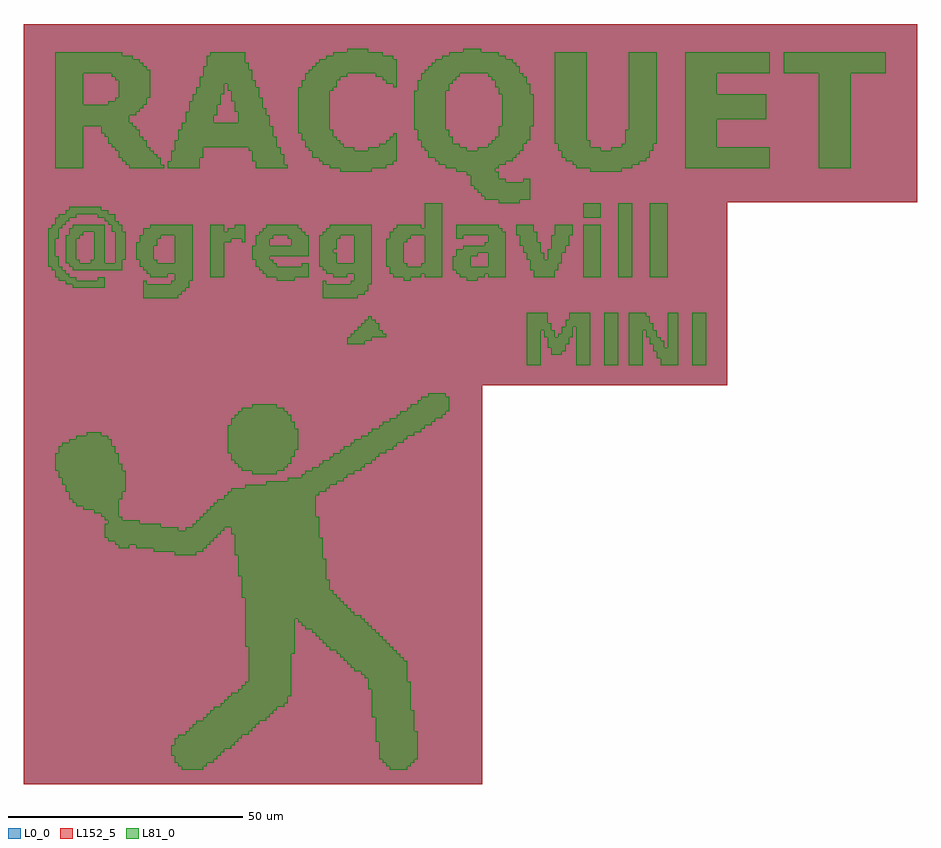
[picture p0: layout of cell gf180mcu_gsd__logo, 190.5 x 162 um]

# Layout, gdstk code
import gdstk
lib = gdstk.Library(unit=1e-6, precision=1e-09)
def R(c, l, rs):  # rectangles x0, y0, x1, y1
    for r in rs: c.add(gdstk.rectangle(r[:2], r[2:], *l))
def P(c, l, *ps):  # polygons
    for p in ps: c.add(gdstk.Polygon(p, *l))
L0_0 = (0, 0)
L81_0 = (81, 0)
L152_5 = (152, 5)

gf180mcu_gsd__logo = lib.new_cell('gf180mcu_gsd__logo')
R(gf180mcu_gsd__logo, L0_0, [(0,0,97.8,85), (0,85,150,124), (0,124,190.5,162)])
R(gf180mcu_gsd__logo, L81_0, [(123.75,89.25,126.75,100.5), (142.5,89.25,145.5,100.5), (119.25,108,123,119.25), (126.75,108,129.75,123.75), (133.5,108,137.25,123.75), (119.25,120.75,123,123.75)])
P(gf180mcu_gsd__logo, L81_0, [(48.75,66),(48.75,66.75),(46.5,66.75),(46.5,67.5),(45.75,67.5),(45.75,68.25),(45,68.25),(45,69),(44.25,69),(44.25,70.5),(43.5,70.5),(43.5,76.5),(44.25,76.5),(44.25,78),(45,78),(45,78.75),(45.75,78.75),(45.75,79.5),(46.5,79.5),(46.5,80.25),(48.75,80.25),(48.75,81),(54,81),(54,80.25),(55.5,80.25),(55.5,79.5),(56.25,79.5),(56.25,78.75),(57,78.75),(57,77.25),(57.75,77.25),(57.75,75.75),(58.5,75.75),(58.5,71.25),(57.75,71.25),(57.75,69.75),(57,69.75),(57,68.25),(56.25,68.25),(56.25,67.5),(55.5,67.5),(55.5,66.75),(54,66.75),(54,66)],
  [(33.75,3),(33.75,3.75),(33,3.75),(33,4.5),(32.25,4.5),(32.25,6),(31.5,6),(31.5,8.25),(32.25,8.25),(32.25,9.75),(33,9.75),(33,10.5),(34.5,10.5),(34.5,11.25),(35.25,11.25),(35.25,12),(36,12),(36,12.75),(36.75,12.75),(36.75,13.5),(38.25,13.5),(38.25,14.25),(39,14.25),(39,15),(39.75,15),(39.75,15.75),(40.5,15.75),(40.5,16.5),(42,16.5),(42,17.25),(42.75,17.25),(42.75,18),(43.5,18),(43.5,18.75),(44.25,18.75),(44.25,19.5),(45.75,19.5),(45.75,20.25),(46.5,20.25),(46.5,21),(47.25,21),(47.25,21.75),(48,21.75),(48,29.25),(47.25,29.25),(47.25,39.75),(46.5,39.75),(46.5,44.25),(45.75,44.25),(45.75,48.75),(45,48.75),(45,53.25),(44.25,53.25),(44.25,54.75),(42.75,54.75),(42.75,54),(42,54),(42,53.25),(41.25,53.25),(41.25,52.5),(40.5,52.5),(40.5,51.75),(39.75,51.75),(39.75,51),(39,51),(39,50.25),(38.25,50.25),(38.25,49.5),(36.75,49.5),(36.75,48.75),(32.25,48.75),(32.25,49.5),(27.75,49.5),(27.75,50.25),(24,50.25),(24,51),(22.5,51),(22.5,50.25),(20.25,50.25),(20.25,51),(19.5,51),(19.5,51.75),(18,51.75),(18,52.5),(17.25,52.5),(17.25,55.5),(18,55.5),(18,56.25),(17.25,56.25),(17.25,57),(16.5,57),(16.5,57.75),(15,57.75),(15,58.5),(12.75,58.5),(12.75,59.25),(11.25,59.25),(11.25,60),(10.5,60),(10.5,60.75),(9.75,60.75),(9.75,62.25),(9,62.25),(9,63.75),(8.25,63.75),(8.25,65.25),(7.5,65.25),(7.5,66.75),(6.75,66.75),(6.75,70.5),(7.5,70.5),(7.5,72),(8.25,72),(8.25,72.75),(9.75,72.75),(9.75,73.5),(11.25,73.5),(11.25,74.25),(13.5,74.25),(13.5,75),(16.5,75),(16.5,74.25),(18,74.25),(18,73.5),(18.75,73.5),(18.75,72),(19.5,72),(19.5,70.5),(20.25,70.5),(20.25,68.25),(21,68.25),(21,66.75),(21.75,66.75),(21.75,62.25),(21,62.25),(21,60.75),(20.25,60.75),(20.25,57),(21,57),(21,56.25),(24.75,56.25),(24.75,55.5),(29.25,55.5),(29.25,54.75),(33,54.75),(33,54),(34.5,54),(34.5,54.75),(36,54.75),(36,55.5),(36.75,55.5),(36.75,56.25),(37.5,56.25),(37.5,57),(38.25,57),(38.25,57.75),(39,57.75),(39,58.5),(39.75,58.5),(39.75,59.25),(40.5,59.25),(40.5,60),(41.25,60),(41.25,60.75),(42.75,60.75),(42.75,61.5),(43.5,61.5),(43.5,62.25),(44.25,62.25),(44.25,63),(47.25,63),(47.25,63.75),(51.75,63.75),(51.75,64.5),(56.25,64.5),(56.25,65.25),(59.25,65.25),(59.25,66),(60,66),(60,66.75),(61.5,66.75),(61.5,67.5),(63,67.5),(63,68.25),(63.75,68.25),(63.75,69),(65.25,69),(65.25,69.75),(66,69.75),(66,70.5),(67.5,70.5),(67.5,71.25),(68.25,71.25),(68.25,72),(69.75,72),(69.75,72.75),(70.5,72.75),(70.5,73.5),(72,73.5),(72,74.25),(73.5,74.25),(73.5,75),(74.25,75),(74.25,75.75),(75.75,75.75),(75.75,76.5),(76.5,76.5),(76.5,77.25),(78,77.25),(78,78),(79.5,78),(79.5,78.75),(80.25,78.75),(80.25,79.5),(81.75,79.5),(81.75,80.25),(82.5,80.25),(82.5,81),(84,81),(84,81.75),(84.75,81.75),(84.75,82.5),(86.25,82.5),(86.25,83.25),(90,83.25),(90,82.5),(90.75,82.5),(90.75,79.5),(90,79.5),(90,78.75),(89.25,78.75),(89.25,78),(87.75,78),(87.75,77.25),(87,77.25),(87,76.5),(85.5,76.5),(85.5,75.75),(84.75,75.75),(84.75,75),(83.25,75),(83.25,74.25),(81.75,74.25),(81.75,73.5),(81,73.5),(81,72.75),(79.5,72.75),(79.5,72),(78.75,72),(78.75,71.25),(77.25,71.25),(77.25,70.5),(75.75,70.5),(75.75,69.75),(75,69.75),(75,69),(74.25,69),(74.25,68.25),(72.75,68.25),(72.75,67.5),(72,67.5),(72,66.75),(70.5,66.75),(70.5,66),(69,66),(69,65.25),(68.25,65.25),(68.25,64.5),(66.75,64.5),(66.75,63.75),(65.25,63.75),(65.25,63),(64.5,63),(64.5,62.25),(63,62.25),(63,61.5),(62.25,61.5),(62.25,57),(63,57),(63,52.5),(63.75,52.5),(63.75,48),(64.5,48),(64.5,43.5),(65.25,43.5),(65.25,41.25),(66,41.25),(66,40.5),(66.75,40.5),(66.75,39.75),(67.5,39.75),(67.5,39),(68.25,39),(68.25,38.25),(69,38.25),(69,37.5),(69.75,37.5),(69.75,36.75),(70.5,36.75),(70.5,36),(72,36),(72,35.25),(72.75,35.25),(72.75,34.5),(73.5,34.5),(73.5,33.75),(74.25,33.75),(74.25,33),(75,33),(75,32.25),(75.75,32.25),(75.75,31.5),(76.5,31.5),(76.5,30.75),(77.25,30.75),(77.25,30),(78,30),(78,29.25),(78.75,29.25),(78.75,28.5),(79.5,28.5),(79.5,27.75),(80.25,27.75),(80.25,27),(81,27),(81,26.25),(81.75,26.25),(81.75,21.75),(82.5,21.75),(82.5,15.75),(83.25,15.75),(83.25,11.25),(84,11.25),(84,5.25),(83.25,5.25),(83.25,4.5),(82.5,4.5),(82.5,3.75),(81.75,3.75),(81.75,3),(78,3),(78,3.75),(77.25,3.75),(77.25,4.5),(76.5,4.5),(76.5,5.25),(75.75,5.25),(75.75,9),(75,9),(75,14.25),(74.25,14.25),(74.25,20.25),(73.5,20.25),(73.5,22.5),(72.75,22.5),(72.75,23.25),(72,23.25),(72,24),(70.5,24),(70.5,24.75),(69.75,24.75),(69.75,25.5),(69,25.5),(69,26.25),(68.25,26.25),(68.25,27),(67.5,27),(67.5,27.75),(66.75,27.75),(66.75,28.5),(65.25,28.5),(65.25,29.25),(64.5,29.25),(64.5,30),(63.75,30),(63.75,30.75),(63,30.75),(63,31.5),(62.25,31.5),(62.25,32.25),(61.5,32.25),(61.5,33),(60,33),(60,33.75),(59.25,33.75),(59.25,34.5),(58.5,34.5),(58.5,35.25),(57.75,35.25),(57.75,27.75),(57,27.75),(57,18.75),(56.25,18.75),(56.25,17.25),(55.5,17.25),(55.5,16.5),(54,16.5),(54,15.75),(53.25,15.75),(53.25,15),(52.5,15),(52.5,14.25),(51.75,14.25),(51.75,13.5),(50.25,13.5),(50.25,12.75),(49.5,12.75),(49.5,12),(48.75,12),(48.75,11.25),(48,11.25),(48,10.5),(46.5,10.5),(46.5,9.75),(45.75,9.75),(45.75,9),(45,9),(45,8.25),(44.25,8.25),(44.25,7.5),(42.75,7.5),(42.75,6.75),(42,6.75),(42,6),(41.25,6),(41.25,5.25),(40.5,5.25),(40.5,4.5),(39,4.5),(39,3.75),(38.25,3.75),(38.25,3)],
  [(69,93.75),(69,95.25),(69.75,95.25),(69.75,96),(70.5,96),(70.5,96.75),(71.25,96.75),(71.25,97.5),(72,97.5),(72,98.25),(72.75,98.25),(72.75,99),(73.5,99),(73.5,99.75),(74.25,99.75),(74.25,99),(75,99),(75,98.25),(75.75,98.25),(75.75,96.75),(76.5,96.75),(76.5,96),(77.25,96),(77.25,95.25),(74.25,95.25),(74.25,94.5),(72.75,94.5),(72.75,93.75)],
  [(107.25,89.25),(107.25,100.5),(111.75,100.5),(111.75,98.25),(112.5,98.25),(112.5,96.75),(113.25,96.75),(113.25,95.25),(114,95.25),(114,96),(114.75,96),(114.75,97.5),(115.5,97.5),(115.5,99),(116.25,99),(116.25,100.5),(120.75,100.5),(120.75,89.25),(117.75,89.25),(117.75,97.5),(117,97.5),(117,95.25),(116.25,95.25),(116.25,93.75),(115.5,93.75),(115.5,92.25),(114.75,92.25),(114.75,91.5),(112.5,91.5),(112.5,93),(111.75,93),(111.75,95.25),(111,95.25),(111,96.75),(110.25,96.75),(110.25,89.25)],
  [(129,89.25),(129,100.5),(132.75,100.5),(132.75,99.75),(133.5,99.75),(133.5,98.25),(134.25,98.25),(134.25,96.75),(135,96.75),(135,95.25),(135.75,95.25),(135.75,94.5),(136.5,94.5),(136.5,93),(137.25,93),(137.25,100.5),(139.5,100.5),(139.5,89.25),(135.75,89.25),(135.75,90.75),(135,90.75),(135,92.25),(134.25,92.25),(134.25,93.75),(133.5,93.75),(133.5,95.25),(132.75,95.25),(132.75,96.75),(132,96.75),(132,89.25)],
  [(25.5,103.5),(25.5,107.25),(26.25,107.25),(26.25,106.5),(31.5,106.5),(31.5,107.25),(32.25,107.25),(32.25,108.75),(30.75,108.75),(30.75,108),(27,108),(27,108.75),(26.25,108.75),(26.25,109.5),(25.5,109.5),(25.5,110.25),(24.75,110.25),(24.75,111.75),(24,111.75),(24,115.5),(24.75,115.5),(24.75,117),(29.25,117),(29.25,116.25),(28.5,116.25),(28.5,114.75),(27.75,114.75),(27.75,111.75),(28.5,111.75),(28.5,111),(32.25,111),(32.25,117),(25.5,117),(25.5,118.5),(27,118.5),(27,119.25),(36,119.25),(36,107.25),(35.25,107.25),(35.25,105.75),(34.5,105.75),(34.5,105),(33.75,105),(33.75,104.25),(33,104.25),(33,103.5)],
  [(39.75,108),(39.75,119.25),(42.75,119.25),(42.75,117.75),(43.5,117.75),(43.5,118.5),(45,118.5),(45,119.25),(47.25,119.25),(47.25,115.5),(46.5,115.5),(46.5,116.25),(44.25,116.25),(44.25,115.5),(42.75,115.5),(42.75,108)],
  [(54,107.25),(54,108),(51.75,108),(51.75,108.75),(51,108.75),(51,109.5),(50.25,109.5),(50.25,110.25),(49.5,110.25),(49.5,111.75),(48.75,111.75),(48.75,114.75),(49.5,114.75),(49.5,117),(53.25,117),(53.25,116.25),(52.5,116.25),(52.5,114.75),(57,114.75),(57,116.25),(56.25,116.25),(56.25,117),(50.25,117),(50.25,117.75),(51,117.75),(51,118.5),(51.75,118.5),(51.75,119.25),(58.5,119.25),(58.5,118.5),(59.25,118.5),(59.25,117.75),(60,117.75),(60,117),(60.75,117),(60.75,112.5),(52.5,112.5),(52.5,111.75),(53.25,111.75),(53.25,111),(54,111),(54,110.25),(59.25,110.25),(59.25,111),(60.75,111),(60.75,108),(57.75,108),(57.75,107.25)],
  [(63.75,103.5),(63.75,107.25),(64.5,107.25),(64.5,106.5),(69.75,106.5),(69.75,107.25),(70.5,107.25),(70.5,108.75),(69,108.75),(69,108),(66,108),(66,108.75),(64.5,108.75),(64.5,109.5),(63.75,109.5),(63.75,110.25),(63,110.25),(63,117),(67.5,117),(67.5,116.25),(66.75,116.25),(66.75,114),(66,114),(66,113.25),(66.75,113.25),(66.75,111),(70.5,111),(70.5,117),(63.75,117),(63.75,117.75),(64.5,117.75),(64.5,118.5),(65.25,118.5),(65.25,119.25),(74.25,119.25),(74.25,106.5),(73.5,106.5),(73.5,105),(72.75,105),(72.75,104.25),(71.25,104.25),(71.25,103.5)],
  [(94.5,107.25),(94.5,108),(93,108),(93,108.75),(92.25,108.75),(92.25,109.5),(91.5,109.5),(91.5,112.5),(92.25,112.5),(92.25,113.25),(96.75,113.25),(96.75,112.5),(95.25,112.5),(95.25,110.25),(99,110.25),(99,113.25),(92.25,113.25),(92.25,114),(93.75,114),(93.75,114.75),(98.25,114.75),(98.25,115.5),(99,115.5),(99,117),(93.75,117),(93.75,116.25),(92.25,116.25),(92.25,119.25),(101.25,119.25),(101.25,118.5),(102,118.5),(102,117.75),(102.75,117.75),(102.75,108),(99,108),(99,108.75),(98.25,108.75),(98.25,108),(96.75,108),(96.75,107.25)],
  [(108.75,108),(108.75,109.5),(108,109.5),(108,111.75),(107.25,111.75),(107.25,113.25),(106.5,113.25),(106.5,114.75),(105.75,114.75),(105.75,117),(105,117),(105,119.25),(108.75,119.25),(108.75,117.75),(109.5,117.75),(109.5,115.5),(110.25,115.5),(110.25,113.25),(111,113.25),(111,111.75),(111.75,111.75),(111.75,114),(112.5,114),(112.5,117),(113.25,117),(113.25,119.25),(117,119.25),(117,117),(116.25,117),(116.25,114.75),(115.5,114.75),(115.5,113.25),(114.75,113.25),(114.75,111),(114,111),(114,109.5),(113.25,109.5),(113.25,108)],
  [(10.5,105.75),(10.5,106.5),(9,106.5),(9,107.25),(7.5,107.25),(7.5,108),(6.75,108),(6.75,109.5),(6,109.5),(6,110.25),(5.25,110.25),(5.25,118.5),(6,118.5),(6,119.25),(6.75,119.25),(6.75,120.75),(7.5,120.75),(7.5,121.5),(9,121.5),(9,122.25),(9.75,122.25),(9.75,123),(16.5,123),(16.5,122.25),(18,122.25),(18,121.5),(19.5,121.5),(19.5,120),(20.25,120),(20.25,119.25),(21,119.25),(21,117.75),(21.75,117.75),(21.75,111.75),(21,111.75),(21,109.5),(10.5,109.5),(10.5,110.25),(9.75,110.25),(9.75,111),(9,111),(9,117),(9.75,117),(9.75,117.75),(12.75,117.75),(12.75,117),(12,117),(12,116.25),(11.25,116.25),(11.25,111.75),(12,111.75),(12,111),(14.25,111),(14.25,111.75),(15,111.75),(15,117.75),(9.75,117.75),(9.75,118.5),(10.5,118.5),(10.5,119.25),(17.25,119.25),(17.25,111),(19.5,111),(19.5,117.75),(18.75,117.75),(18.75,119.25),(18,119.25),(18,120),(17.25,120),(17.25,120.75),(15.75,120.75),(15.75,121.5),(11.25,121.5),(11.25,120.75),(9.75,120.75),(9.75,120),(9,120),(9,119.25),(8.25,119.25),(8.25,118.5),(7.5,118.5),(7.5,116.25),(6.75,116.25),(6.75,112.5),(7.5,112.5),(7.5,110.25),(8.25,110.25),(8.25,109.5),(9,109.5),(9,108.75),(9.75,108.75),(9.75,108),(11.25,108),(11.25,107.25),(15.75,107.25),(15.75,108),(17.25,108),(17.25,105.75)],
  [(81,107.25),(81,108),(78.75,108),(78.75,108.75),(78,108.75),(78,110.25),(77.25,110.25),(77.25,116.25),(78,116.25),(78,117),(82.5,117),(82.5,116.25),(81.75,116.25),(81.75,115.5),(81,115.5),(81,111),(81.75,111),(81.75,110.25),(84.75,110.25),(84.75,111),(85.5,111),(85.5,117),(78,117),(78,117.75),(78.75,117.75),(78.75,118.5),(79.5,118.5),(79.5,119.25),(84.75,119.25),(84.75,118.5),(85.5,118.5),(85.5,123.75),(89.25,123.75),(89.25,108),(85.5,108),(85.5,108.75),(84.75,108.75),(84.75,108),(82.5,108),(82.5,107.25)],
  [(6.75,131.25),(6.75,151.5),(12.75,151.5),(12.75,144.75),(18,144.75),(18,145.5),(19.5,145.5),(19.5,146.25),(20.25,146.25),(20.25,150),(19.5,150),(19.5,150.75),(18.75,150.75),(18.75,151.5),(6.75,151.5),(6.75,156),(21,156),(21,155.25),(23.25,155.25),(23.25,154.5),(24.75,154.5),(24.75,153.75),(25.5,153.75),(25.5,153),(26.25,153),(26.25,152.25),(27,152.25),(27,146.25),(26.25,146.25),(26.25,144.75),(25.5,144.75),(25.5,144),(24.75,144),(24.75,143.25),(24,143.25),(24,142.5),(22.5,142.5),(22.5,141),(23.25,141),(23.25,140.25),(24,140.25),(24,139.5),(24.75,139.5),(24.75,138),(25.5,138),(25.5,137.25),(26.25,137.25),(26.25,135.75),(27,135.75),(27,135),(27.75,135),(27.75,134.25),(28.5,134.25),(28.5,133.5),(29.25,133.5),(29.25,132),(30,132),(30,131.25),(22.5,131.25),(22.5,132),(21.75,132),(21.75,132.75),(21,132.75),(21,133.5),(20.25,133.5),(20.25,135),(19.5,135),(19.5,135.75),(18.75,135.75),(18.75,136.5),(18,136.5),(18,138),(17.25,138),(17.25,138.75),(16.5,138.75),(16.5,140.25),(12.75,140.25),(12.75,131.25)],
  [(30.75,131.25),(30.75,132.75),(31.5,132.75),(31.5,135),(32.25,135),(32.25,137.25),(33,137.25),(33,139.5),(33.75,139.5),(33.75,141),(34.5,141),(34.5,143.25),(35.25,143.25),(35.25,145.5),(36,145.5),(36,147),(36.75,147),(36.75,148.5),(37.5,148.5),(37.5,149.25),(42.75,149.25),(42.75,147),(42,147),(42,144.75),(41.25,144.75),(41.25,142.5),(40.5,142.5),(40.5,141),(45.75,141),(45.75,143.25),(45,143.25),(45,145.5),(44.25,145.5),(44.25,147.75),(43.5,147.75),(43.5,149.25),(37.5,149.25),(37.5,150.75),(38.25,150.75),(38.25,153),(39,153),(39,155.25),(39.75,155.25),(39.75,156),(47.25,156),(47.25,153.75),(48,153.75),(48,152.25),(48.75,152.25),(48.75,150),(49.5,150),(49.5,148.5),(50.25,148.5),(50.25,146.25),(51,146.25),(51,144),(51.75,144),(51.75,142.5),(52.5,142.5),(52.5,140.25),(53.25,140.25),(53.25,138),(54,138),(54,135.75),(54.75,135.75),(54.75,134.25),(55.5,134.25),(55.5,132),(56.25,132),(56.25,131.25),(49.5,131.25),(49.5,132.75),(48.75,132.75),(48.75,135),(48,135),(48,135.75),(38.25,135.75),(38.25,133.5),(37.5,133.5),(37.5,131.25)],
  [(120.75,130.5),(120.75,131.25),(117.75,131.25),(117.75,132),(117,132),(117,132.75),(115.5,132.75),(115.5,133.5),(114.75,133.5),(114.75,135),(114,135),(114,136.5),(113.25,136.5),(113.25,156),(120,156),(120,137.25),(120.75,137.25),(120.75,135.75),(123,135.75),(123,135),(125.25,135),(125.25,135.75),(127.5,135.75),(127.5,136.5),(128.25,136.5),(128.25,139.5),(129,139.5),(129,156),(135,156),(135,136.5),(134.25,136.5),(134.25,135),(133.5,135),(133.5,133.5),(132.75,133.5),(132.75,132.75),(131.25,132.75),(131.25,132),(129.75,132),(129.75,131.25),(127.5,131.25),(127.5,130.5)],
  [(141,131.25),(141,156),(159,156),(159,151.5),(147.75,151.5),(147.75,147),(158.25,147),(158.25,141.75),(147.75,141.75),(147.75,135.75),(159,135.75),(159,131.25)],
  [(169.5,131.25),(169.5,151.5),(162,151.5),(162,156),(183.75,156),(183.75,151.5),(176.25,151.5),(176.25,131.25)],
  [(67.5,130.5),(67.5,131.25),(65.25,131.25),(65.25,132),(63.75,132),(63.75,132.75),(63,132.75),(63,133.5),(61.5,133.5),(61.5,135),(60.75,135),(60.75,135.75),(60,135.75),(60,137.25),(59.25,137.25),(59.25,138.75),(58.5,138.75),(58.5,148.5),(59.25,148.5),(59.25,150),(60,150),(60,151.5),(60.75,151.5),(60.75,152.25),(61.5,152.25),(61.5,153),(62.25,153),(62.25,153.75),(63,153.75),(63,154.5),(64.5,154.5),(64.5,155.25),(66,155.25),(66,156),(69,156),(69,156.75),(73.5,156.75),(73.5,156),(76.5,156),(76.5,155.25),(78.75,155.25),(78.75,154.5),(79.5,154.5),(79.5,148.5),(78.75,148.5),(78.75,149.25),(77.25,149.25),(77.25,150),(76.5,150),(76.5,150.75),(75,150.75),(75,151.5),(69,151.5),(69,150.75),(67.5,150.75),(67.5,150),(66.75,150),(66.75,148.5),(66,148.5),(66,147.75),(65.25,147.75),(65.25,139.5),(66,139.5),(66,138),(66.75,138),(66.75,137.25),(67.5,137.25),(67.5,136.5),(68.25,136.5),(68.25,135.75),(70.5,135.75),(70.5,135),(73.5,135),(73.5,135.75),(75.75,135.75),(75.75,136.5),(77.25,136.5),(77.25,137.25),(78,137.25),(78,138),(78.75,138),(78.75,138.75),(79.5,138.75),(79.5,132.75),(78.75,132.75),(78.75,132),(77.25,132),(77.25,131.25),(74.25,131.25),(74.25,130.5)],
  [(101.25,123.75),(101.25,124.5),(98.25,124.5),(98.25,125.25),(97.5,125.25),(97.5,126),(96.75,126),(96.75,126.75),(96,126.75),(96,127.5),(95.25,127.5),(95.25,129.75),(94.5,129.75),(94.5,130.5),(92.25,130.5),(92.25,131.25),(90,131.25),(90,132),(88.5,132),(88.5,132.75),(87.75,132.75),(87.75,133.5),(86.25,133.5),(86.25,135),(85.5,135),(85.5,135.75),(84.75,135.75),(84.75,137.25),(84,137.25),(84,139.5),(83.25,139.5),(83.25,147.75),(84,147.75),(84,150),(84.75,150),(84.75,151.5),(93,151.5),(93,150.75),(92.25,150.75),(92.25,150),(91.5,150),(91.5,149.25),(90.75,149.25),(90.75,147.75),(90,147.75),(90,139.5),(90.75,139.5),(90.75,138),(91.5,138),(91.5,136.5),(93,136.5),(93,135.75),(94.5,135.75),(94.5,135),(96.75,135),(96.75,135.75),(99,135.75),(99,136.5),(99.75,136.5),(99.75,137.25),(100.5,137.25),(100.5,138),(101.25,138),(101.25,140.25),(102,140.25),(102,147),(101.25,147),(101.25,148.5),(100.5,148.5),(100.5,150),(99.75,150),(99.75,150.75),(99,150.75),(99,151.5),(85.5,151.5),(85.5,152.25),(86.25,152.25),(86.25,153),(87,153),(87,153.75),(87.75,153.75),(87.75,154.5),(89.25,154.5),(89.25,155.25),(90.75,155.25),(90.75,156),(93.75,156),(93.75,156.75),(97.5,156.75),(97.5,156),(101.25,156),(101.25,155.25),(102.75,155.25),(102.75,154.5),(104.25,154.5),(104.25,153.75),(105,153.75),(105,153),(105.75,153),(105.75,151.5),(106.5,151.5),(106.5,150.75),(107.25,150.75),(107.25,149.25),(108,149.25),(108,147),(108.75,147),(108.75,140.25),(108,140.25),(108,137.25),(107.25,137.25),(107.25,136.5),(106.5,136.5),(106.5,135),(105.75,135),(105.75,134.25),(105,134.25),(105,133.5),(104.25,133.5),(104.25,132.75),(102.75,132.75),(102.75,132),(101.25,132),(101.25,131.25),(100.5,131.25),(100.5,130.5),(101.25,130.5),(101.25,129),(102.75,129),(102.75,128.25),(106.5,128.25),(106.5,129),(108,129),(108,124.5),(105.75,124.5),(105.75,123.75)])
R(gf180mcu_gsd__logo, L152_5, [(0,0,97.8,85), (0,85,150,124), (0,124,190.5,162)])

lib.write_gds('gf180mcu_gsd__logo.gds')
